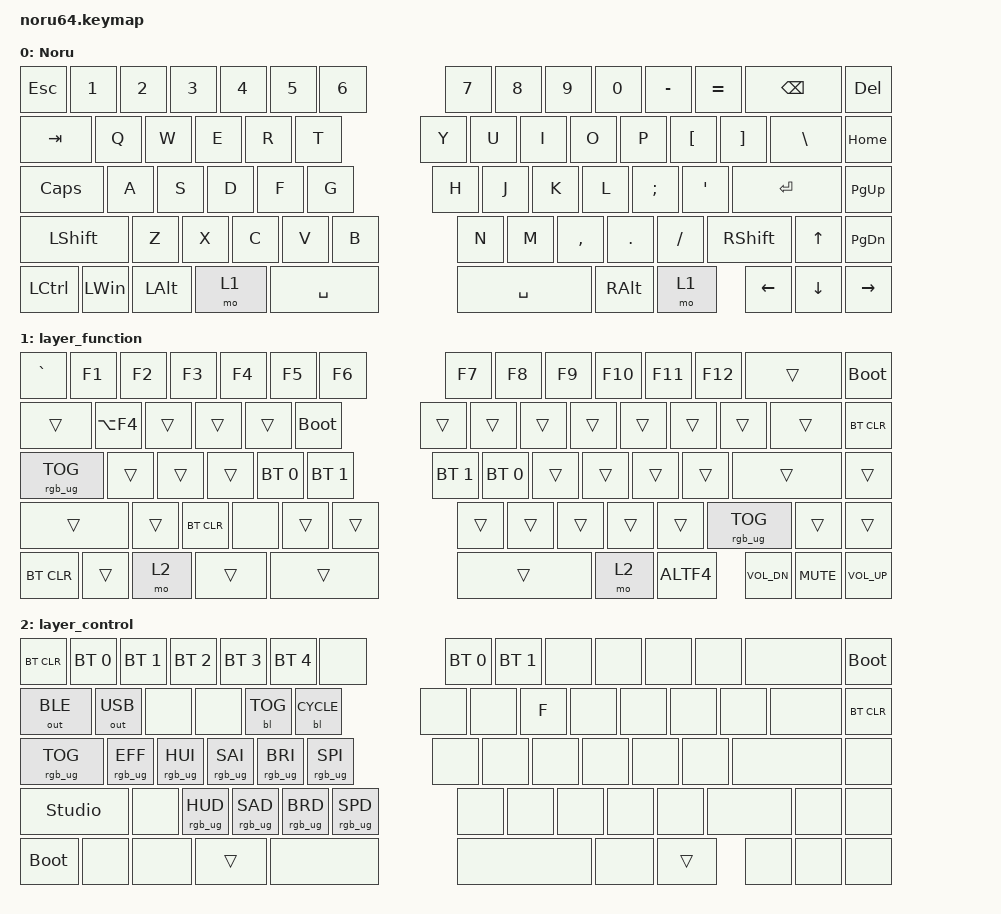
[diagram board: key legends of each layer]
/*
 * Copyright (c) 2020 The ZMK Contributors
 *
 * SPDX-License-Identifier: MIT
 */
/* THIS FILE WAS GENERATED!
 *
 * This file was generated automatically. You may or may not want to
 * edit it directly.
 */

#include <behaviors.dtsi>
#include <dt-bindings/zmk/backlight.h>
#include <dt-bindings/zmk/bt.h>
#include <dt-bindings/zmk/ext_power.h>
#include <dt-bindings/zmk/keys.h>
#include <dt-bindings/zmk/outputs.h>
#include <dt-bindings/zmk/rgb.h>

/ {
    macros {
        ALTF4: ALTF4 {
            compatible = "zmk,behavior-macro";
            #binding-cells = <0>;
            bindings = <&kp LA(F4)>, <&macro_press>;

            label = "ALTF4";
        };
    };

    keymap {
        compatible = "zmk,keymap";

        Noru {
            // -----------------------------------------------------------------------------------------------------------------------------------------------------------------------------
            // |   ESC   |    1    |    2    |    3    |    4    |    5    |                  |    6    |    7    |    8    |    9    |    0    |    -    |    =    |  BACKSPACE |   DEL   |
            // |   TAB   |    Q    |    W    |    E    |    R    |    T    |                  |    Y    |    U    |    I    |    O    |    P    |    [    |    ]    |     \      |  HOME   |
            // |   CAP   |    A    |    S    |    D    |    F    |    G    |                  |    H    |    J    |    K    |    L    |    ;    |    '    |      ENTER           |  PG UP  |
            // |  SHIFT  |    Z    |    X    |    C    |    V    |    B    |                  |    N    |    M    |    ,    |    .    |    /    |    SHIFT  |     UP    |        | PG DOWN |
            // |   CTRL   |   WIN   | ATL  |  FN   | SPACE |                                                        |  SPACE |  R ALT  |   FN    |     LEFT   |   DOWN   |  RIGHT  | 
            // -----------------------------------------------------------------------------------------------------------------------------------------------------------------------------

            bindings = <
&kp ESCAPE  &kp N1    &kp N2        &kp N3  &kp N4  &kp N5  &kp N6     &kp N7  &kp N8     &kp N9     &kp N0         &kp MINUS  &kp EQUAL             &kp BSPC  &kp DEL
&kp TAB     &kp Q     &kp W         &kp E   &kp R           &kp T      &kp Y   &kp U      &kp I      &kp O          &kp P      &kp LBKT   &kp RBKT   &kp BSLH  &kp HOME
&kp CAPS    &kp A     &kp S         &kp D           &kp F   &kp G      &kp H   &kp J      &kp K      &kp L          &kp SEMI   &kp SQT               &kp RET   &kp PG_UP
&kp LSHFT             &kp Z         &kp X   &kp C   &kp V   &kp B      &kp N   &kp M      &kp COMMA  &kp DOT                   &kp FSLH   &kp RSHFT  &kp UP    &kp PG_DN
&kp LCTRL   &kp LWIN  &kp LEFT_ALT  &mo 1                   &kp SPACE          &kp SPACE             &kp RIGHT_ALT  &mo 1                 &kp LEFT   &kp DOWN  &kp RIGHT
            >;
        };

        layer_function {
            bindings = <
&kp GRAVE        &kp F1      &kp F2  &kp F3      &kp F4  &kp F5        &kp F6        &kp F7        &kp F8        &kp F9  &kp F10  &kp F11  &kp F12                   &trans      &bootloader
&trans           &kp LA(F4)  &trans  &trans      &trans                &bootloader   &trans        &trans        &trans  &trans   &trans   &trans   &trans           &trans      &bt BT_CLR
&rgb_ug RGB_TOG  &trans      &trans  &trans              &bt BT_SEL 0  &bt BT_SEL 1  &bt BT_SEL 1  &bt BT_SEL 0  &trans  &trans   &trans   &trans                    &trans      &trans
&trans                       &trans  &bt BT_CLR  &none   &trans        &trans        &trans        &trans        &trans  &trans            &trans   &rgb_ug RGB_TOG  &trans      &trans
&bt BT_CLR       &trans      &mo 2   &trans                            &trans                      &trans                &mo 2    &ALTF4            &kp C_VOL_DN     &kp K_MUTE  &kp C_VOLUME_UP
            >;
        };

        layer_control {
            bindings = <
&bt BT_CLR         &bt BT_SEL 0     &bt BT_SEL 1     &bt BT_SEL 2     &bt BT_SEL 3     &bt BT_SEL 4     &none            &bt BT_SEL 0  &bt BT_SEL 1  &none  &none  &none   &none         &none  &bootloader
&out OUT_BLE       &out OUT_USB     &none            &none            &bl BL_TOG                        &bl BL_CYCLE     &none         &none         &kp F  &none  &none   &none  &none  &none  &bt BT_CLR
&rgb_ug RGB_TOG    &rgb_ug RGB_EFF  &rgb_ug RGB_HUI  &rgb_ug RGB_SAI                   &rgb_ug RGB_BRI  &rgb_ug RGB_SPI  &none         &none         &none  &none  &none   &none         &none  &none
&studio_unlock                      &none            &rgb_ug RGB_HUD  &rgb_ug RGB_SAD  &rgb_ug RGB_BRD  &rgb_ug RGB_SPD  &none         &none         &none  &none          &none  &none  &none  &none
&bootloader        &none            &none            &trans                                             &none                          &none                &none  &trans         &none  &none  &none
            >;
        };
    };
};
